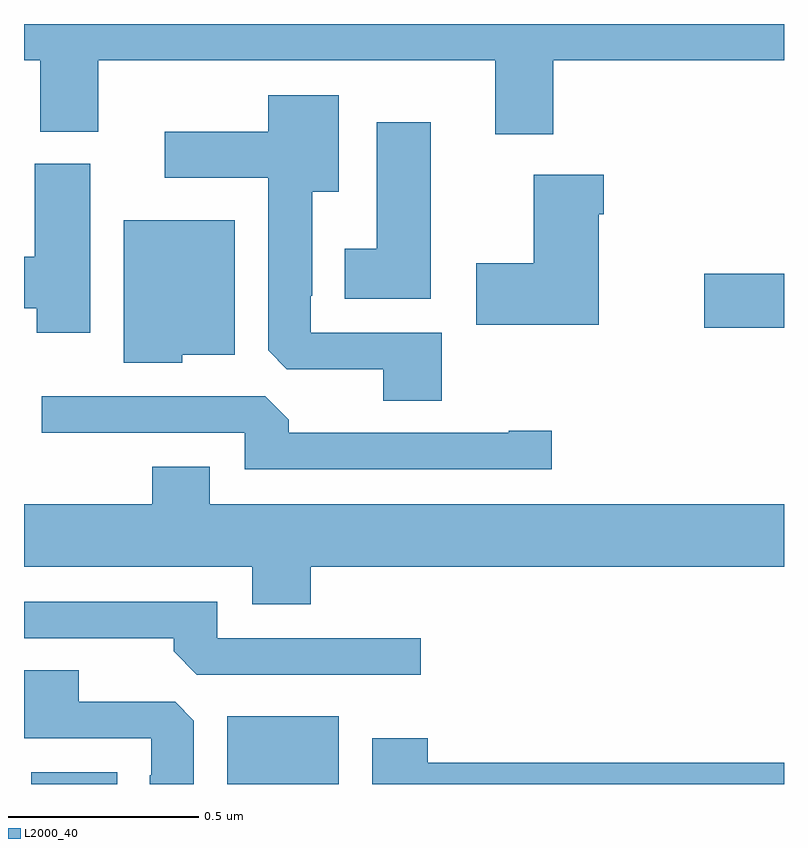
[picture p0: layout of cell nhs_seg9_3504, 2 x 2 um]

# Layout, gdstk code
import gdstk
lib = gdstk.Library(unit=1e-6, precision=1e-09)
def R(c, l, rs):  # rectangles x0, y0, x1, y1
    for r in rs: c.add(gdstk.rectangle(r[:2], r[2:], *l))
def P(c, l, *ps):  # polygons
    for p in ps: c.add(gdstk.Polygon(p, *l))
L2000_40 = (2000, 40)

nhs_seg9_3504 = lib.new_cell('nhs_seg9_3504')
R(nhs_seg9_3504, L2000_40, [(154.019,1210.5,154.246,1210.531), (154.535,1210.5,154.828,1210.678), (155.79,1211.701,156,1211.843)])
P(nhs_seg9_3504, L2000_40, [(155.393,1212.404),(156,1212.404),(156,1212.5),(154,1212.5),(154,1212.404),(154.043,1212.404),(154.043,1212.217),(154.195,1212.217),(154.195,1212.404),(155.24,1212.404),(155.24,1212.21),(155.393,1212.21)],
  [(155.099,1211.688),(154.755,1211.688),(154.755,1211.785),(154.759,1211.785),(154.759,1212.059),(154.828,1212.059),(154.828,1212.313),(154.643,1212.313),(154.643,1212.217),(154.371,1212.217),(154.371,1212.095),(154.643,1212.095),(154.643,1211.641),(154.692,1211.592),(154.946,1211.592),(154.946,1211.509),(155.099,1211.509)],
  [(155.071,1212.241),(154.928,1212.241),(154.928,1211.908),(154.844,1211.908),(154.844,1211.777),(155.071,1211.777)],
  [(154.174,1212.132),(154.028,1212.132),(154.028,1211.888),(154,1211.888),(154,1211.752),(154.033,1211.752),(154.033,1211.688),(154.174,1211.688)],
  [(155.512,1211.999),(155.525,1211.999),(155.525,1212.103),(155.342,1212.103),(155.342,1211.871),(155.19,1211.871),(155.19,1211.708),(155.512,1211.708)],
  [(154.416,1211.63),(154.555,1211.63),(154.555,1211.983),(154.262,1211.983),(154.262,1211.609),(154.416,1211.609)],
  [(155.389,1211.429),(155.276,1211.429),(155.276,1211.424),(154.697,1211.424),(154.697,1211.458),(154.635,1211.52),(154.047,1211.52),(154.047,1211.424),(154.581,1211.424),(154.581,1211.328),(155.389,1211.328)],
  [(154.754,1211.072),(156,1211.072),(156,1211.236),(154.489,1211.236),(154.489,1211.335),(154.337,1211.335),(154.337,1211.236),(154,1211.236),(154,1211.072),(154.601,1211.072),(154.601,1210.973),(154.754,1210.973)],
  [(155.044,1210.884),(154.509,1210.884),(154.509,1210.98),(154,1210.98),(154,1210.884),(154.394,1210.884),(154.394,1210.85),(154.455,1210.788),(155.044,1210.788)],
  [(154.447,1210.667),(154.398,1210.716),(154.144,1210.716),(154.144,1210.799),(154,1210.799),(154,1210.62),(154.335,1210.62),(154.335,1210.523),(154.331,1210.523),(154.331,1210.5),(154.447,1210.5)],
  [(156,1210.556),(155.063,1210.556),(155.063,1210.621),(154.916,1210.621),(154.916,1210.5),(156,1210.5)])

lib.write_gds('nhs_seg9_3504.gds')
